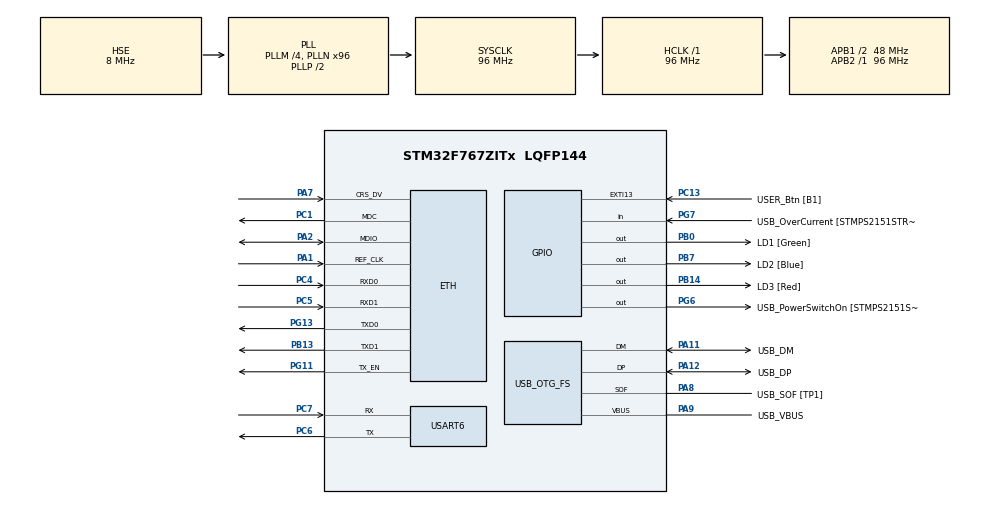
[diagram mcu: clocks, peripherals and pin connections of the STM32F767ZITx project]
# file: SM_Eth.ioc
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ETH.MediaInterface=HAL_ETH_RMII_MODE
LWIP.BSP.number=1
LWIP.GATEWAY_ADDRESS=192.168.001.001
LWIP.IP_ADDRESS=169.254.015.183
LWIP.LWIP_DHCP=0
LWIP.NETMASK_ADDRESS=255.255.255.000
LWIP.Version=v2.1.2_Cube
LWIP0.BSP.STBoard=false
LWIP0.BSP.api=BSP_COMPONENT_DRIVER
LWIP0.BSP.component=LAN8742
LWIP0.BSP.instance=LAN8742
LWIP0.BSP.name=Driver_PHY
LWIP0.BSP.semaphore=S_LAN8742
LWIP0.BSP.solution=LAN8742
Mcu.Family=STM32F7
Mcu.Name=STM32F767ZITx
Mcu.Package=LQFP144
NVIC.ETH_IRQn=true\:0\:0\:false\:false\:true\:true\:true\:true
NVIC.ETH_WKUP_IRQn=true\:0\:0\:false\:false\:true\:true\:true\:true
NVIC.PriorityGroup=NVIC_PRIORITYGROUP_4
NVIC.USART6_IRQn=true\:0\:0\:true\:false\:true\:true\:true\:true
PA1.GPIO_Mode=GPIO_MODE_AF_PP
PA1.GPIO_PuPd=GPIO_NOPULL
PA1.GPIO_Speed=GPIO_SPEED_FREQ_VERY_HIGH
PA1.Mode=RMII
PA1.Signal=ETH_REF_CLK
PA10.GPIO_Label=USB_ID
PA10.Signal=USB_OTG_FS_ID
PA11.GPIO_Label=USB_DM
PA11.Mode=Device_Only
PA11.Signal=USB_OTG_FS_DM
PA12.GPIO_Label=USB_DP
PA12.Mode=Device_Only
PA12.Signal=USB_OTG_FS_DP
PA13.GPIO_Label=TMS
PA13.Mode=Serial_Wire
PA13.Signal=SYS_JTMS-SWDIO
PA14.GPIO_Label=TCK
PA14.Mode=Serial_Wire
PA14.Signal=SYS_JTCK-SWCLK
PA2.GPIO_Mode=GPIO_MODE_AF_PP
PA2.GPIO_PuPd=GPIO_NOPULL
PA2.GPIO_Speed=GPIO_SPEED_FREQ_VERY_HIGH
PA2.Mode=RMII
PA2.Signal=ETH_MDIO
PA7.GPIO_Mode=GPIO_MODE_AF_PP
PA7.GPIO_PuPd=GPIO_NOPULL
PA7.GPIO_Speed=GPIO_SPEED_FREQ_VERY_HIGH
PA7.Mode=RMII
PA7.Signal=ETH_CRS_DV
PA8.GPIO_Label=USB_SOF [TP1]
PA8.Mode=Activate_SOF_FS
PA8.Signal=USB_OTG_FS_SOF
PA9.GPIO_Label=USB_VBUS
PA9.Mode=Activate_VBUS
PA9.Signal=USB_OTG_FS_VBUS
PB0.GPIO_Label=LD1 [Green]
PB0.Signal=GPIO_Output
PB13.GPIO_Mode=GPIO_MODE_AF_PP
PB13.GPIO_PuPd=GPIO_NOPULL
PB13.GPIO_Speed=GPIO_SPEED_FREQ_VERY_HIGH
PB13.Mode=RMII
PB13.Signal=ETH_TXD1
PB14.GPIO_Label=LD3 [Red]
PB14.Signal=GPIO_Output
PB3.GPIO_Label=SWO
PB3.Signal=SYS_JTDO-SWO
PB7.GPIO_Label=LD2 [Blue]
PB7.Signal=GPIO_Output
PC1.GPIO_Mode=GPIO_MODE_AF_PP
PC1.GPIO_PuPd=GPIO_NOPULL
PC1.GPIO_Speed=GPIO_SPEED_FREQ_VERY_HIGH
PC1.Mode=RMII
PC1.Signal=ETH_MDC
PC13.GPIO_Label=USER_Btn [B1]
PC13.Signal=GPXTI13
PC14/OSC32_IN.Mode=LSE-External-Oscillator
PC14/OSC32_IN.Signal=RCC_OSC32_IN
PC15/OSC32_OUT.Mode=LSE-External-Oscillator
PC15/OSC32_OUT.Signal=RCC_OSC32_OUT
PC4.GPIO_Mode=GPIO_MODE_AF_PP
PC4.GPIO_PuPd=GPIO_NOPULL
PC4.GPIO_Speed=GPIO_SPEED_FREQ_VERY_HIGH
PC4.Mode=RMII
PC4.Signal=ETH_RXD0
PC5.GPIO_Mode=GPIO_MODE_AF_PP
PC5.GPIO_PuPd=GPIO_NOPULL
PC5.GPIO_Speed=GPIO_SPEED_FREQ_VERY_HIGH
PC5.Mode=RMII
PC5.Signal=ETH_RXD1
PC6.Mode=Asynchronous
PC6.Signal=USART6_TX
PC7.Mode=Asynchronous
PC7.Signal=USART6_RX
PD8.GPIO_Label=STLK_RX [STM32F103CBT6_PA3]
PD8.Signal=USART3_TX
PD9.GPIO_Label=STLK_TX [STM32F103CBT6_PA2]
PD9.Signal=USART3_RX
PG11.GPIO_Mode=GPIO_MODE_AF_PP
PG11.GPIO_PuPd=GPIO_NOPULL
PG11.GPIO_Speed=GPIO_SPEED_FREQ_VERY_HIGH
PG11.Mode=RMII
PG11.Signal=ETH_TX_EN
PG13.GPIO_Mode=GPIO_MODE_AF_PP
PG13.GPIO_PuPd=GPIO_NOPULL
PG13.GPIO_Speed=GPIO_SPEED_FREQ_VERY_HIGH
PG13.Mode=RMII
PG13.Signal=ETH_TXD0
PG6.GPIO_Label=USB_PowerSwitchOn [STMPS2151STR_EN]
PG6.Signal=GPIO_Output
PG7.GPIO_Label=USB_OverCurrent [STMPS2151STR_FAULT]
PG7.Signal=GPIO_Input
PH0/OSC_IN.GPIO_Label=MCO [STM32F103CBT6_PA8]
PH0/OSC_IN.Mode=HSE-External-Clock-Source
PH0/OSC_IN.Signal=RCC_OSC_IN
PH1/OSC_OUT.Mode=HSE-External-Clock-Source
PH1/OSC_OUT.Signal=RCC_OSC_OUT
ProjectManager.HeapSize=0x200
ProjectManager.StackSize=0x400
ProjectManager.TargetToolchain=STM32CubeIDE
RCC.48MHZClocksFreq_Value=24000000
RCC.AHBFreq_Value=96000000
RCC.APB1CLKDivider=RCC_HCLK_DIV2
RCC.APB1Freq_Value=48000000
RCC.APB1TimFreq_Value=96000000
RCC.APB2Freq_Value=96000000
RCC.APB2TimFreq_Value=96000000
RCC.CortexFreq_Value=96000000
RCC.HCLKFreq_Value=96000000
RCC.HSE_VALUE=8000000
RCC.HSI_VALUE=16000000
RCC.PLLM=4
RCC.PLLMUL=RCC_PLL_MUL9
RCC.PLLN=96
RCC.PLLQ=4
RCC.PRESCALERUSB=RCC_USBCLKSOURCE_PLL_DIV1_5
RCC.SYSCLKFreq_VALUE=96000000
RCC.SYSCLKSource=RCC_SYSCLKSOURCE_PLLCLK
RCC.SYSCLKSourceVirtual=RCC_SYSCLKSOURCE_PLLCLK
RCC.USBFreq_Value=48000000
RCC.VCOOutputFreq_Value=192000000
USART6.VirtualMode-Asynchronous=VM_ASYNC
USB_OTG_FS.VirtualMode=Device_Only
VP_LWIP_VS_Enabled.Mode=Enabled
board=NUCLEO-F767ZI

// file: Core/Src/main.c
/* USER CODE BEGIN Header */
/**
  ******************************************************************************
  * @file           : main.c
  * @brief          : UART-to-UDP Bridge for Sensor Data Telemetry.body
  * (USART6) and an Ethernet network. It performs the following:
  * - Receives data packets from the fan controller via UART.
  * - Validates data integrity using a CRC8 checksum.
  * - Parses floating-point values (Temperature, Setpoint, Duty).
  * - Forwards the validated data as UDP packets using the LwIP stack.
  * @author         : Oleg Swierblewski
  * @date           : 2026
  ******************************************************************************
  * @attention
  *
  * Copyright (c) 2026 STMicroelectronics.
  * All rights reserved.
  *
  * This software is licensed under terms that can be found in the LICENSE file
  * in the root directory of this software component.
  * If no LICENSE file comes with this software, it is provided AS-IS.
  *
  ******************************************************************************
  */
/* USER CODE END Header */
#include "main.h"
#include "lwip.h"

/* USER CODE BEGIN Includes */

#include <stdio.h>
#include <string.h>
#include "lwip.h"
#include "lwip/udp.h"
#include "lwip/timeouts.h"

/* USER CODE END Includes */

UART_HandleTypeDef huart6;

PCD_HandleTypeDef hpcd_USB_OTG_FS;

/* USER CODE BEGIN PV */

/** @defgroup Gateway_State_Variables Network & Buffer Variables
 * @brief Variables managing data reception and network communication.
 * @{ */

#define RX_LEN 20
uint8_t rx_buffer[RX_LEN + 1];  /**< Buffer for incoming UART telemetry frames. */
float t_rx;                     /**< Extracted Temperature value from UART. */
float s_rx;                     /**< Extracted Setpoint value from UART. */
float d_rx;                     /**< Extracted PWM Duty Cycle value from UART. */

struct udp_pcb *udp_client;     /**< UDP Protocol Control Block for LwIP. */
ip_addr_t laptop_ip;            /**< Destination IP address for the UDP telemetry. */

/** @} */

/* USER CODE END PV */

void SystemClock_Config(void);
static void MX_GPIO_Init(void);
static void MX_USB_OTG_FS_PCD_Init(void);
static void MX_USART6_UART_Init(void);

/* USER CODE BEGIN 0 */

/**
 * @brief Calculates the CRC8 checksum for incoming data verification.
 * @details Uses polynomial 0x07. This must match the algorithm used by
 * the transmitting device to ensure successful validation.
 * @param data: Pointer to the received payload.
 * @param len: Number of bytes to process.
 * @return Computed 8-bit checksum.
 */
uint8_t Compute_CRC8(uint8_t *data, uint16_t len) {
    uint8_t crc = 0x00;
    for (uint16_t i = 0; i < len; i++) {
        crc ^= data[i];
        for (uint8_t j = 0; j < 8; j++) {
            if (crc & 0x80) {
                crc = (crc << 1) ^ 0x07;
            } else {
                crc <<= 1;
            }
        }
    }
    return crc;
}

/**
 * @brief UART Reception Complete Callback.
 * @details This is the core processing logic of the gateway:
 * 1. Appends null terminator to the @ref rx_buffer.
 * 2. Locates the CRC delimiter (';').
 * 3. Verifies @ref Compute_CRC8 against the received checksum.
 * 4. If valid, parses the string and encapsulates it into an LwIP **pbuf**.
 * 5. Dispatches the **pbuf** to @ref laptop_ip via UDP.
 * 6. Toggles LD1 on success or sets LD3 on CRC error.
 * 7. Restarts the UART Interrupt reception.
 * @param huart: Pointer to the UART handle (USART6).
 */
void HAL_UART_RxCpltCallback(UART_HandleTypeDef *huart) {
  if (huart->Instance == USART6) {
	  rx_buffer[RX_LEN] = '\0';
    unsigned int received_crc;
    char payload_to_check[32];

    // Format: "25.00;25.00;030;A1\r\n"
    char *last_semicolon = strrchr((char*)rx_buffer, ';');

    if (last_semicolon != NULL) {
        int data_len = last_semicolon - (char*)rx_buffer;

        strncpy(payload_to_check, (char*)rx_buffer, data_len);
        payload_to_check[data_len] = '\0';

        // Count local CRC
        uint8_t local_crc = Compute_CRC8((uint8_t*)payload_to_check, data_len);

        // Read CRC
        sscanf(last_semicolon + 1, "%02X", &received_crc);

        // Verify
        if (local_crc == (uint8_t)received_crc) {
            // Pass
            if (sscanf(payload_to_check, "%f;%f;%f", &t_rx, &s_rx, &d_rx) == 3) {
            	char udp_msg[64];
            	      int len = snprintf(
            	          udp_msg,
            	          sizeof(udp_msg),
            	          "%.2f;%.2f;%.2f",
            	          t_rx, s_rx, d_rx
            	      );

            	      struct pbuf *p = pbuf_alloc(PBUF_TRANSPORT, len, PBUF_RAM);
            	      if (p != NULL) {
            	          memcpy(p->payload, udp_msg, len);
            	          udp_send(udp_client, p);
            	          pbuf_free(p);
            	      }

                HAL_GPIO_TogglePin(LD1_GPIO_Port, LD1_Pin);
            }
        } else {
            // CRC Error
            HAL_GPIO_WritePin(LD3_GPIO_Port, LD3_Pin, GPIO_PIN_SET);
        }
    }

    HAL_UART_Receive_IT(&huart6, rx_buffer, RX_LEN);
  }
}

/* USER CODE END 0 */

int main(void)
{

  /* MCU Configuration--------------------------------------------------------*/

  /* Reset of all peripherals, Initializes the Flash interface and the Systick. */
  HAL_Init();

  /* Configure the system clock */
  SystemClock_Config();

  /* Initialize all configured peripherals */
  MX_GPIO_Init();
  MX_USB_OTG_FS_PCD_Init();
  MX_USART6_UART_Init();
  MX_LWIP_Init();
  /* USER CODE BEGIN 2 */

  IP4_ADDR(&laptop_ip, 169, 254, 15, 184);

  // Utworzenie UDP
  udp_client = udp_new();
  udp_connect(udp_client, &laptop_ip, 1234);

  HAL_UART_Receive_IT(&huart6, rx_buffer, RX_LEN);

  /* USER CODE END 2 */

  /* Infinite loop */
  /* USER CODE BEGIN WHILE */
  while (1)
  {
	  MX_LWIP_Process();
    /* USER CODE END WHILE */

  }
}

void SystemClock_Config(void)
{
  RCC_OscInitTypeDef RCC_OscInitStruct = {0};
  RCC_ClkInitTypeDef RCC_ClkInitStruct = {0};

  /** Configure LSE Drive Capability
  */
  HAL_PWR_EnableBkUpAccess();

  /** Configure the main internal regulator output voltage
  */
  __HAL_RCC_PWR_CLK_ENABLE();
  __HAL_PWR_VOLTAGESCALING_CONFIG(PWR_REGULATOR_VOLTAGE_SCALE3);

  /** Initializes the RCC Oscillators according to the specified parameters
  * in the RCC_OscInitTypeDef structure.
  */
  RCC_OscInitStruct.OscillatorType = RCC_OSCILLATORTYPE_HSE;
  RCC_OscInitStruct.HSEState = RCC_HSE_BYPASS;
  RCC_OscInitStruct.PLL.PLLState = RCC_PLL_ON;
  RCC_OscInitStruct.PLL.PLLSource = RCC_PLLSOURCE_HSE;
  RCC_OscInitStruct.PLL.PLLM = 4;
  RCC_OscInitStruct.PLL.PLLN = 96;
  RCC_OscInitStruct.PLL.PLLP = RCC_PLLP_DIV2;
  RCC_OscInitStruct.PLL.PLLQ = 4;
  RCC_OscInitStruct.PLL.PLLR = 2;
  if (HAL_RCC_OscConfig(&RCC_OscInitStruct) != HAL_OK)
  {
    Error_Handler();
  }

  /** Activate the Over-Drive mode
  */
  if (HAL_PWREx_EnableOverDrive() != HAL_OK)
  {
    Error_Handler();
  }

  /** Initializes the CPU, AHB and APB buses clocks
  */
  RCC_ClkInitStruct.ClockType = RCC_CLOCKTYPE_HCLK|RCC_CLOCKTYPE_SYSCLK
                              |RCC_CLOCKTYPE_PCLK1|RCC_CLOCKTYPE_PCLK2;
  RCC_ClkInitStruct.SYSCLKSource = RCC_SYSCLKSOURCE_PLLCLK;
  RCC_ClkInitStruct.AHBCLKDivider = RCC_SYSCLK_DIV1;
  RCC_ClkInitStruct.APB1CLKDivider = RCC_HCLK_DIV2;
  RCC_ClkInitStruct.APB2CLKDivider = RCC_HCLK_DIV1;

  if (HAL_RCC_ClockConfig(&RCC_ClkInitStruct, FLASH_LATENCY_3) != HAL_OK)
  {
    Error_Handler();
  }
}

static void MX_USART6_UART_Init(void)
{

  huart6.Instance = USART6;
  huart6.Init.BaudRate = 115200;
  huart6.Init.WordLength = UART_WORDLENGTH_8B;
  huart6.Init.StopBits = UART_STOPBITS_1;
  huart6.Init.Parity = UART_PARITY_NONE;
  huart6.Init.Mode = UART_MODE_TX_RX;
  huart6.Init.HwFlowCtl = UART_HWCONTROL_NONE;
  huart6.Init.OverSampling = UART_OVERSAMPLING_16;
  huart6.Init.OneBitSampling = UART_ONE_BIT_SAMPLE_DISABLE;
  huart6.AdvancedInit.AdvFeatureInit = UART_ADVFEATURE_NO_INIT;
  if (HAL_UART_Init(&huart6) != HAL_OK)
  {
    Error_Handler();
  }

}

static void MX_USB_OTG_FS_PCD_Init(void)
{

  hpcd_USB_OTG_FS.Instance = USB_OTG_FS;
  hpcd_USB_OTG_FS.Init.dev_endpoints = 6;
  hpcd_USB_OTG_FS.Init.speed = PCD_SPEED_FULL;
  hpcd_USB_OTG_FS.Init.dma_enable = DISABLE;
  hpcd_USB_OTG_FS.Init.phy_itface = PCD_PHY_EMBEDDED;
  hpcd_USB_OTG_FS.Init.Sof_enable = ENABLE;
  hpcd_USB_OTG_FS.Init.low_power_enable = DISABLE;
  hpcd_USB_OTG_FS.Init.lpm_enable = DISABLE;
  hpcd_USB_OTG_FS.Init.vbus_sensing_enable = ENABLE;
  hpcd_USB_OTG_FS.Init.use_dedicated_ep1 = DISABLE;
  if (HAL_PCD_Init(&hpcd_USB_OTG_FS) != HAL_OK)
  {
    Error_Handler();
  }

}

static void MX_GPIO_Init(void)
{
  GPIO_InitTypeDef GPIO_InitStruct = {0};

  /* GPIO Ports Clock Enable */
  __HAL_RCC_GPIOC_CLK_ENABLE();
  __HAL_RCC_GPIOH_CLK_ENABLE();
  __HAL_RCC_GPIOA_CLK_ENABLE();
  __HAL_RCC_GPIOB_CLK_ENABLE();
  __HAL_RCC_GPIOD_CLK_ENABLE();
  __HAL_RCC_GPIOG_CLK_ENABLE();

  /*Configure GPIO pin Output Level */
  HAL_GPIO_WritePin(GPIOB, LD1_Pin|LD3_Pin|LD2_Pin, GPIO_PIN_RESET);

  /*Configure GPIO pin Output Level */
  HAL_GPIO_WritePin(USB_PowerSwitchOn_GPIO_Port, USB_PowerSwitchOn_Pin, GPIO_PIN_RESET);

  /*Configure GPIO pin : USER_Btn_Pin */
  GPIO_InitStruct.Pin = USER_Btn_Pin;
  GPIO_InitStruct.Mode = GPIO_MODE_IT_RISING;
  GPIO_InitStruct.Pull = GPIO_NOPULL;
  HAL_GPIO_Init(USER_Btn_GPIO_Port, &GPIO_InitStruct);

  /*Configure GPIO pins : LD1_Pin LD3_Pin LD2_Pin */
  GPIO_InitStruct.Pin = LD1_Pin|LD3_Pin|LD2_Pin;
  GPIO_InitStruct.Mode = GPIO_MODE_OUTPUT_PP;
  GPIO_InitStruct.Pull = GPIO_NOPULL;
  GPIO_InitStruct.Speed = GPIO_SPEED_FREQ_LOW;
  HAL_GPIO_Init(GPIOB, &GPIO_InitStruct);

  /*Configure GPIO pins : STLK_RX_Pin STLK_TX_Pin */
  GPIO_InitStruct.Pin = STLK_RX_Pin|STLK_TX_Pin;
  GPIO_InitStruct.Mode = GPIO_MODE_AF_PP;
  GPIO_InitStruct.Pull = GPIO_NOPULL;
  GPIO_InitStruct.Speed = GPIO_SPEED_FREQ_VERY_HIGH;
  GPIO_InitStruct.Alternate = GPIO_AF7_USART3;
  HAL_GPIO_Init(GPIOD, &GPIO_InitStruct);

  /*Configure GPIO pin : USB_PowerSwitchOn_Pin */
  GPIO_InitStruct.Pin = USB_PowerSwitchOn_Pin;
  GPIO_InitStruct.Mode = GPIO_MODE_OUTPUT_PP;
  GPIO_InitStruct.Pull = GPIO_NOPULL;
  GPIO_InitStruct.Speed = GPIO_SPEED_FREQ_LOW;
  HAL_GPIO_Init(USB_PowerSwitchOn_GPIO_Port, &GPIO_InitStruct);

  /*Configure GPIO pin : USB_OverCurrent_Pin */
  GPIO_InitStruct.Pin = USB_OverCurrent_Pin;
  GPIO_InitStruct.Mode = GPIO_MODE_INPUT;
  GPIO_InitStruct.Pull = GPIO_NOPULL;
  HAL_GPIO_Init(USB_OverCurrent_GPIO_Port, &GPIO_InitStruct);

}

void Error_Handler(void)
{
  __disable_irq();
  while (1)
  {
  }
}
